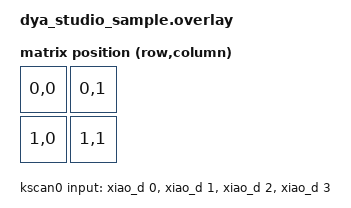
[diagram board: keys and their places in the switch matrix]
#include <input/processors.dtsi>
#include <input/processors/runtime-input-processor.dtsi>
#include <dt-bindings/zmk/matrix_transform.h>
#include <physical_layouts.dtsi>
#include <zephyr/dt-bindings/input/input-event-codes.h>

/* PMW3610: D5=SCK, D8=SDIO, D9=MOTION, D10=NCS (3-wire SPI). */

&pinctrl {
    spi0_default: spi0_default {
        group1 {
            psels = <NRF_PSEL(SPIM_SCK, 0, 5)>,
                    <NRF_PSEL(SPIM_MOSI, 1, 13)>,
                    <NRF_PSEL(SPIM_MISO, 1, 13)>;
        };
    };
    spi0_sleep: spi0_sleep {
        group1 {
            psels = <NRF_PSEL(SPIM_SCK, 0, 5)>,
                    <NRF_PSEL(SPIM_MOSI, 1, 13)>,
                    <NRF_PSEL(SPIM_MISO, 1, 13)>;
            low-power-enable;
        };
    };
};

&spi0 {
    compatible = "nordic,nrf-spim";
    status = "okay";
    pinctrl-0 = <&spi0_default>;
    pinctrl-1 = <&spi0_sleep>;
    pinctrl-names = "default", "sleep";
    cs-gpios = <&xiao_d 10 GPIO_ACTIVE_LOW>;

    trackball: trackball@0 {
        compatible = "cormoran,pmw3610";
        reg = <0>;
        spi-max-frequency = <2000000>;
        irq-gpios = <&xiao_d 9 (GPIO_ACTIVE_LOW | GPIO_PULL_UP)>;
        evt-type = <INPUT_EV_REL>;
        x-input-code = <INPUT_REL_X>;
        y-input-code = <INPUT_REL_Y>;
    };
};

/ {
    chosen {
        zmk,kscan = &kscan0;
        zmk,physical-layout = &physical_layout0;
    };

    kscan0: kscan {
        compatible = "zmk,kscan-gpio-direct";
        wakeup-source;
        debounce-press-ms = <10>;
        debounce-release-ms = <10>;
        input-gpios = <&xiao_d 0 (GPIO_ACTIVE_LOW | GPIO_PULL_UP)>,
                      <&xiao_d 1 (GPIO_ACTIVE_LOW | GPIO_PULL_UP)>,
                      <&xiao_d 2 (GPIO_ACTIVE_LOW | GPIO_PULL_UP)>,
                      <&xiao_d 3 (GPIO_ACTIVE_LOW | GPIO_PULL_UP)>;
    };

    transform0: keymap_transform {
        compatible = "zmk,matrix-transform";
        rows = <2>;
        columns = <2>;
        map = <
            RC(0,0) RC(0,1)
            RC(1,0) RC(1,1)
        >;
    };

    physical_layout0: physical_layout0 {
        compatible = "zmk,physical-layout";
        display-name = "DYA Studio Sample";
        transform = <&transform0>;
        keys = <&key_physical_attrs 100 100   0   0 0 0 0>,
               <&key_physical_attrs 100 100 100   0 0 0 0>,
               <&key_physical_attrs 100 100   0 100 0 0 0>,
               <&key_physical_attrs 100 100 100 100 0 0 0>;
    };

    trackball_listener {
        compatible = "zmk,input-listener";
        device = <&trackball>;
        input-processors = <&mouse_runtime_input_processor>;
    };
};
